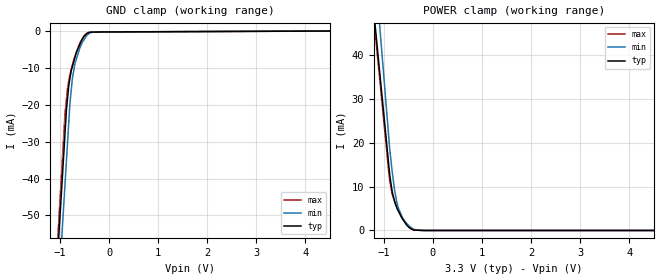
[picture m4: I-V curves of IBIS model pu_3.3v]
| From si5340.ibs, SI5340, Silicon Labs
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[Model] pu_3.3v
Model_type Input
Vinl = 990.000mV
Vinh = 2.31000V
C_comp 707.000fF 705.000fF 709.000fF
| variable typ   min   max
[Voltage Range] 3.30000V 3.13500V 3.46500V
[POWER Clamp Reference] 3.30000V 3.13500V 3.46500V
[GND Clamp Reference] 0.00000V 0.00000V 0.00000V
[Temperature Range]   25   85   -40
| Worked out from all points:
|   GND clamp passes 1 mA (typ) near -0.48 V on its own axis
|   POWER clamp passes 1 mA (typ) near -0.51 V on its own axis
[GND Clamp]
-3.3V     -556.7mA   -566.3mA   -572.2mA
-900mV    -27.79mA   -41.63mA   -22.37mA
-870mV    -21.18mA   -35.07mA   -18.31mA
-850mV    -18.47mA   -30.7mA    -15.61mA
-820mV    -14.4mA    -24.14mA   -13.24mA
-800mV    -12.85mA   -19.77mA   -11.67mA
-750mV    -9.585mA   -12.87mA   -9.204mA
-700mV    -7.233mA   -8.937mA   -6.742mA
-600mV    -3.627mA   -4.639mA   -3.272mA
-450mV    -614.2uA   -1.027mA   -459.8uA
-175mV    -189.8uA   -178.8uA   -197.6uA
6.6V      184.1uA    195.9uA    175.8uA
[POWER Clamp]
-3.3V     289.7mA    351.3mA    289.8mA
-1.05V    32.08mA    41.89mA    30.54mA
-900mV    14.91mA    21.27mA    13.25mA
-880mV    12.62mA    18.52mA    11.22mA
-830mV    8.807mA    13.42mA    8.269mA
-780mV    6.55mA     9.082mA    6.631mA
-730mV    5.033mA    6.105mA    5.049mA
-630mV    2.807mA    3.185mA    2.898mA
-530mV    1.191mA    1.538mA    1.199mA
-430mV    302.8uA    526.9uA    253.5uA
-200mV    5.164uA    0A         25.49uA
6.6V      0A         0A         0A
